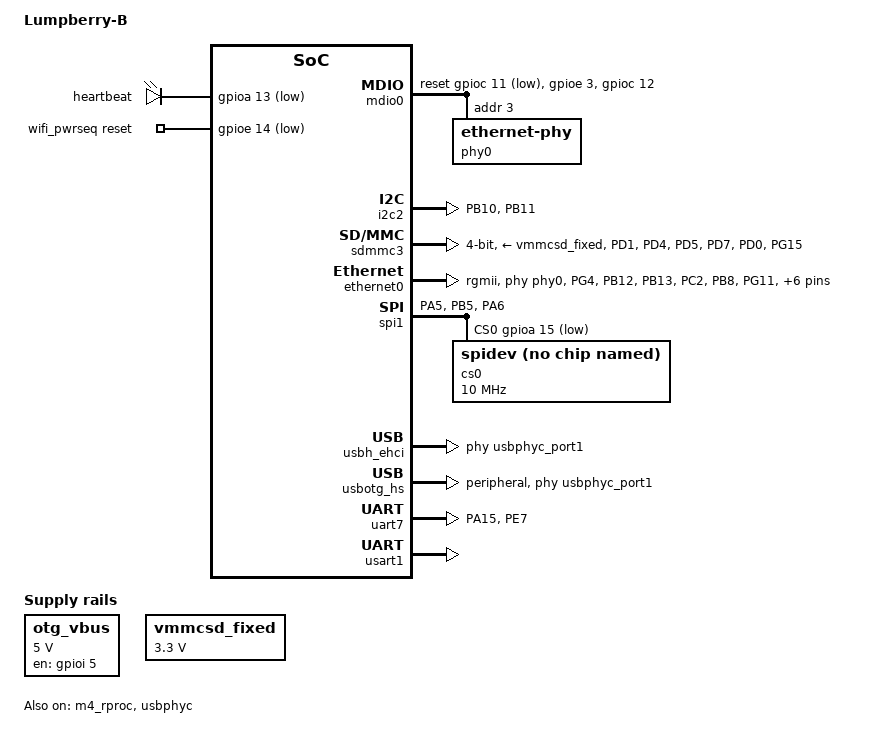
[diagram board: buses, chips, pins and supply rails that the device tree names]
/dts-v1/;

#include "lump1a.dtsi"

/ {
	model = "Lumpberry-B";

	aliases {
		serial0 = &usart1;
		ethernet0 = &ethernet0;
		mdio-gpio0 = &mdio0;
	};

	co-boot {
	};

	chosen {
		stdout-path = "serial0:115200n8";
		bootargs = "loglevel=3 clk_ignore_unused earlyprintk console=ttySTM0,115200n8 debug_boot_weak_hash ubi.mtd=4 ubi.block=0,rfs rdinit=/etc/initrc";
	};

	reserved-memory {
		#address-cells = <1>;
		#size-cells = <1>;
		ranges;

		retram: retram@0x38000000 {
			compatible = "shared-dma-pool";
			reg = <0x38000000 0x10000>;
			no-map;
		};

		mcuram: mcuram@0x30000000 {
			compatible = "shared-dma-pool";
			reg = <0x30000000 0x40000>;
			no-map;
		};

		mcuram2: mcuram2@0x10000000 {
			compatible = "shared-dma-pool";
			reg = <0x10000000 0x40000>;
			no-map;
		};

		vdev0vring0: vdev0vring0@10040000 {
			compatible = "shared-dma-pool";
			reg = <0x10040000 0x2000>;
			no-map;
		};

		vdev0vring1: vdev0vring1@10042000 {
			compatible = "shared-dma-pool";
			reg = <0x10042000 0x2000>;
			no-map;
		};

		vdev0buffer: vdev0buffer@10044000 {
			compatible = "shared-dma-pool";
			reg = <0x10044000 0x4000>;
			no-map;
		};
		fb_reserved: fb@c7000000 {
			reg = <0xc7000000 0x100000>;
			no-map;
		};

		gpu_reserved: gpu@d4000000 {
			reg = <0xd4000000 0x1000000>;
			no-map;
		};
	};

	sram: sram@10050000 {
		compatible = "mmio-sram";
		reg = <0x10050000 0x10000>;
		#address-cells = <1>;
		#size-cells = <1>;
		ranges = <0 0x10050000 0x10000>;

		dma_pool: dma_pool@0 {
			reg = <0x0 0x10000>;
			pool;
		};
	};

	led {
		compatible = "gpio-leds";
		green {
			label = "heartbeat";
			gpios = <&gpioa 13 GPIO_ACTIVE_LOW>;
			linux,default-trigger = "heartbeat";
			default-state = "off";
		};
	};

	usb_phy_tuning: usb-phy-tuning {
		st,hs-dc-level = <2>;
		st,fs-rftime-tuning;
		st,hs-rftime-reduction;
		st,hs-current-trim = <15>;
		st,hs-impedance-trim = <1>;
		st,squelch-level = <3>;
		st,hs-rx-offset = <2>;
		st,no-lsfs-sc;
	};

	mdio0: eth-mdio {
		compatible = "virtual,mdio-gpio";
		#address-cells = <1>;
		#size-cells = <0>;
		reset-gpios = <&gpioc 11 GPIO_ACTIVE_LOW>;
		reset-delay-us = <1000>;
		gpios = <&gpioe 3 GPIO_ACTIVE_HIGH>, <&gpioc 12 GPIO_ACTIVE_HIGH>;

		phy0: ethernet-phy@1 {
			reg = <3>;
			device_type = "ethernet-phy";
		};
	};
	otg_vbus: vbusswitch1 {
		compatible = "regulator-fixed";
		regulator-min-microvolt = <5000000>;
		regulator-max-microvolt = <5000000>;
		enable-active-high;
		regulator-name = "vbusswitch1";
		gpio = <&gpioi 5 0>;
	};
	vmmcsd_fixed: fixedregulator1 {
		compatible = "regulator-fixed";
		regulator-name = "vmmcsd_fixed";
		regulator-min-microvolt = <3300000>;
		regulator-max-microvolt = <3300000>;
		regulator-boot-on;
	};
	wifi_pwrseq: wifi_pwrseq {
		compatible = "mmc-pwrseq-simple";
		reset-gpios = <&gpioe 14 GPIO_ACTIVE_LOW>;
	};

	m4@0 {
		/delete-node/m4_system_resources;
	};
};

&ipcc {
	status = "okay";
};

&m4_rproc {
//	memory-region = <&mcuram>;
	memory-region = <&retram>, <&mcuram>, <&mcuram2>, <&vdev0vring0>,
			<&vdev0vring1>, <&vdev0buffer>;
	mboxes = <&ipcc 0>, <&ipcc 1>, <&ipcc 2>;
	mbox-names = "vq0", "vq1", "shutdown";
	interrupt-parent = <&exti>;
	interrupts = <68 1>;
	interrupt-names = "wdg";
	wakeup-source;
	recovery;
	status = "okay";
};

&pinctrl {
	uart7_pins_b: uart7b-0 {
		pins1 {
			pinmux = <STM32_PINMUX('A', 15, AF13)>; /* TX */
			bias-disable;
			drive-push-pull;
			slew-rate = <0>;
		};
		pins2 {
			pinmux = <STM32_PINMUX('E', 7, AF7)>; /* RX */
			bias-disable;
		};
	};
	spi2_pins_a: spi2-0 {
		pins1 {
			pinmux = <STM32_PINMUX('D', 3, AF5)>, /* SPI2_SCK */
				 <STM32_PINMUX('B', 15, AF5)>; /* SPI2_MOSI */

			bias-disable;
			drive-push-pull;
			slew-rate = <1>;
		};

		pins2 {
			pinmux = <STM32_PINMUX('B', 14, AF5)>; /* SPI2_MISO */
			bias-disable;
		};
	};
	spi1_pins_rp: spi1-1 { // PA15=NSS1
		pins1 {
			pinmux = <STM32_PINMUX('A', 5, AF5)>, /* SPI1_SCK */
				 <STM32_PINMUX('B', 5, AF5)>; /* SPI1_MOSI */

			bias-disable;
			drive-push-pull;
			slew-rate = <1>;
		};

		pins2 {
			pinmux = <STM32_PINMUX('A', 6, AF5)>; /* SPI1_MISO */
			bias-disable;
		};
	};

	ethernet0_rgmii_pins_b: rgmii-1 {
		pins1 {
			pinmux = 
			 <STM32_PINMUX('G', 4, AF11)>, /* ETH_RGMII_GTX_CLK */
			 <STM32_PINMUX('B', 12, AF11)>, /* ETH_RMII_TXD0 */
			 <STM32_PINMUX('B', 13, AF11)>, /* ETH_RMII_TXD1 */
			 <STM32_PINMUX('C',  2, AF11)>, /* ETH_RMII_TXD2 */
			 <STM32_PINMUX('B',  8, AF11)>, /* ETH_RMII_TXD3 */
			 <STM32_PINMUX('G', 11, AF11)>; /* ETH_RMII_TX_CTL */
			drive-push-pull;
			slew-rate = <2>;
		};
		pins2 {
			pinmux = <STM32_PINMUX('C', 4, AF11)>, /* ETH_RXD0 */
			 <STM32_PINMUX('C', 5, AF11)>, /* ETH_RMII_RXD1 */
			 <STM32_PINMUX('H', 6, AF11)>, /* ETH_RMII_RXD2 */
			 <STM32_PINMUX('B', 1, AF11)>, /* ETH_RMII_RXD3 */
			 <STM32_PINMUX('A', 1, AF11)>, /* ETH_RMII_RX_CLK */
			 <STM32_PINMUX('A', 7, AF11)>; /* ETH_RMII_RX_CTL */
			bias-disable;
		};
	};
	i2c2_pins_b: i2c2-1 {
		pins {
			pinmux = <STM32_PINMUX('B',10, AF4)>, /* I2C2_SCL */
				 <STM32_PINMUX('B',11, AF4)>; /* I2C2_SDA */
			bias-disable;
			drive-open-drain;
			slew-rate = <0>;
		};
	};
	sdmmc3_b5_pins_a: sdmmc3-b5-0 {
		pins1 {
			pinmux = <STM32_PINMUX('D', 1, AF10)>, /* SDMMC3_D0 */
				 <STM32_PINMUX('D', 4, AF10)>, /* SDMMC3_D1 */
				 <STM32_PINMUX('D', 5, AF10)>, /* SDMMC3_D2 */
				 <STM32_PINMUX('D', 7, AF10)>, /* SDMMC3_D3 */
				 <STM32_PINMUX('D', 0, AF10)>; /* SDMMC3_CMD */
			slew-rate = <1>;
			drive-push-pull;
			bias-pull-up;
		};
		pins2 {
			pinmux = <STM32_PINMUX('G', 15, AF10)>; /* SDMMC3_CK */
			slew-rate = <2>;
			drive-push-pull;
			bias-pull-up;
		};
	};

	sdmmc3_b5_od_pins_a: sdmmc3-b5-od-0 {
		pins1 {
			pinmux = <STM32_PINMUX('D', 1, AF10)>, /* SDMMC3_D0 */
				 <STM32_PINMUX('D', 4, AF10)>, /* SDMMC3_D1 */
				 <STM32_PINMUX('D', 5, AF10)>, /* SDMMC3_D2 */
				 <STM32_PINMUX('D', 7, AF10)>; /* SDMMC3_D3 */
			slew-rate = <1>;
			drive-push-pull;
			bias-pull-up;
		};
		pins2 {
			pinmux = <STM32_PINMUX('G', 15, AF10)>; /* SDMMC3_CK */
			slew-rate = <2>;
			drive-push-pull;
			bias-pull-up;
		};
		pins3 {
			pinmux = <STM32_PINMUX('D', 0, AF10)>; /* SDMMC3_CMD */
			slew-rate = <1>;
			drive-open-drain;
			bias-pull-up;
		};
	};

	sdmmc3_b5_sleep_pins_a: sdmmc3-b5-sleep-0 {
		pins {
			pinmux = <STM32_PINMUX('D', 1, ANALOG)>, /* SDMMC3_D0 */
				 <STM32_PINMUX('D', 4, ANALOG)>, /* SDMMC3_D1 */
				 <STM32_PINMUX('D', 5, ANALOG)>, /* SDMMC3_D2 */
				 <STM32_PINMUX('D', 7, ANALOG)>, /* SDMMC3_D3 */
				 <STM32_PINMUX('G', 15, ANALOG)>, /* SDMMC3_CK */
				 <STM32_PINMUX('D', 0, ANALOG)>; /* SDMMC3_CMD */
		};
	};
};

&i2c2 {
	pinctrl-names = "default";
	pinctrl-0 = <&i2c2_pins_b>;
	i2c-scl-rising-time-ns = <185>;
	i2c-scl-falling-time-ns = <20>;
	status = "okay";
	/delete-property/dmas;
	/delete-property/dma-names;

};

&sdmmc3 { 
	pinctrl-names = "default", "opendrain", "sleep";
	pinctrl-0 = <&sdmmc3_b5_pins_a>;
	pinctrl-1 = <&sdmmc3_b5_od_pins_a>;
	pinctrl-2 = <&sdmmc3_b5_sleep_pins_a>;
	mmc-pwrseq = <&wifi_pwrseq>;
	vmmc-supply = <&vmmcsd_fixed>;
	vqmmc-supply = <&vmmcsd_fixed>;
//	non-removable;
	broken-cd;
	st,neg-edge;
	no-mmc;
	no-sd;
	bus-width = <4>;
	status = "okay";
};

&ethernet0 {
	status = "okay";
	pinctrl-0 = <&ethernet0_rgmii_pins_b>;
	pinctrl-names = "default";
	phy-mode = "rgmii";
	max-speed = <1000>;
	local-mac-address = [70 B3 D5 15 80 15];
	phy-handle = <&phy0>;
	st,eth-clk-sel;
	clock-names = "stmmaceth", "mac-clk-tx", "mac-clk-rx", "eth-ck", "syscfg-clk", "ethstp";
	clocks = <&rcc ETHMAC>, <&rcc ETHTX>, <&rcc ETHRX>, <&rcc ETHCK_K>, <&rcc SYSCFG>, <&rcc ETHSTP>;
//	clock-names = "stmmaceth", "mac-clk-tx", "mac-clk-rx", "syscfg-clk", "ethstp";
//	clocks = <&rcc ETHMAC>, <&rcc ETHTX>, <&rcc ETHRX>, <&rcc SYSCFG>, <&rcc ETHSTP>;
};

&spi1 {
	status = "okay";
	pinctrl-names = "default";
	pinctrl-0 = <&spi1_pins_rp>;
	cs-gpios = <&gpioa 15 GPIO_ACTIVE_LOW>;
	cs0@0 {
		compatible = "rohm,dh2228fv"; // spidev alias to avoid kern warning
		reg = <0>;
		spi-max-frequency = <10000000>;
	};
};

&usbh_ehci {
        phys = <&usbphyc_port1 1>;
//        status = "okay";
};
#if 0
&usbotg_hs {
	compatible = "st,stm32mp15-fsotg", "snps,dwc2";
	pinctrl-names = "default";
	pinctrl-0 = <&usbotg_fs_dp_dm_pins_a &usbotg_hs_pins_a>;
	dr_mode = "peripheral";
	//vbus-supply = <&otg_vbus>;
	status = "okay";
};
#else
&usbotg_hs {
	//pinctrl-names = "default";
	//pinctrl-0 = <&usbotg_hs_pins_a>;
	//dr_mode = "host";
	dr_mode = "peripheral";
	phys = <&usbphyc_port1 0>;   // 0:select OTG for port
	phy-names = "usb2-phy";
	//vbus-supply = <&otg_vbus>;
	status = "okay";
};
#endif
&usbphyc {
	status = "okay";
};

&usbphyc_port1 {
	st,phy-tuning = <&usb_phy_tuning>;
};

&uart7 {
	pinctrl-names = "default";
	pinctrl-0 = <&uart7_pins_b>;
//	status = "okay";
};

&usart1 {
	pinctrl-names = "default";
	pinctrl-0 = <&usart1_pins_a>;
	status = "okay";
};
